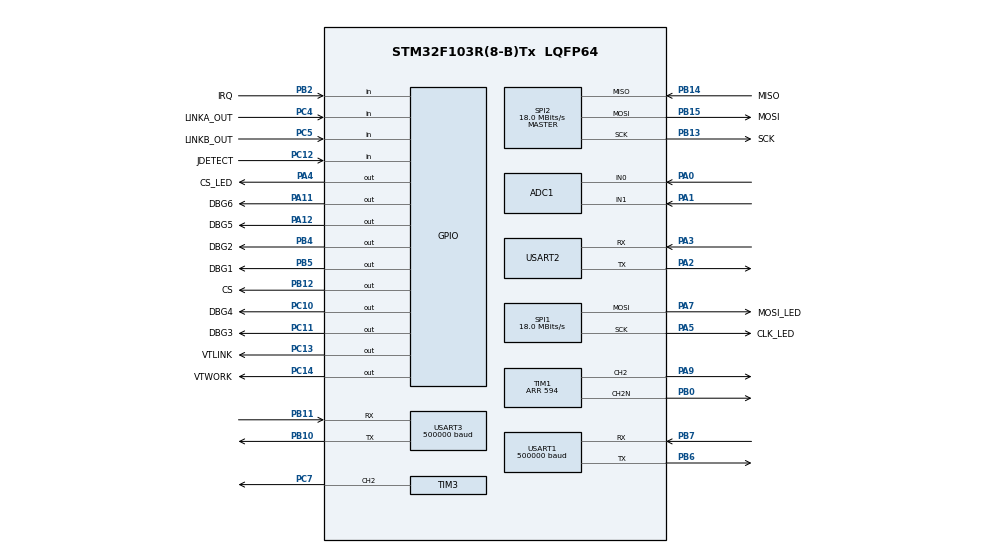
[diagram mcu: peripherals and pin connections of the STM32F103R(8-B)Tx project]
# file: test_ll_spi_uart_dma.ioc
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ADC1.Channel-0\#ChannelRegularConversion=ADC_CHANNEL_0
ADC1.Channel-19\#ChannelRegularConversion=ADC_CHANNEL_1
ADC1.ContinuousConvMode=ENABLE
ADC1.NbrOfConversion=2
ADC1.NbrOfConversionFlag=1
ADC1.Rank-0\#ChannelRegularConversion=1
ADC1.Rank-19\#ChannelRegularConversion=2
ADC1.SamplingTime-0\#ChannelRegularConversion=ADC_SAMPLETIME_239CYCLES_5
ADC1.SamplingTime-19\#ChannelRegularConversion=ADC_SAMPLETIME_239CYCLES_5
ADC1.master=1
Dma.ADC1.0.Direction=DMA_PERIPH_TO_MEMORY
Dma.ADC1.0.Instance=DMA1_Channel1
Dma.ADC1.0.MemDataAlignment=DMA_MDATAALIGN_WORD
Dma.ADC1.0.MemInc=DMA_MINC_ENABLE
Dma.ADC1.0.Mode=DMA_CIRCULAR
Dma.ADC1.0.PeriphDataAlignment=DMA_PDATAALIGN_WORD
Dma.ADC1.0.PeriphInc=DMA_PINC_DISABLE
Dma.ADC1.0.Priority=DMA_PRIORITY_LOW
Dma.Request0=ADC1
Dma.Request1=USART1_RX
Dma.Request2=USART1_TX
Dma.Request3=USART3_RX
Dma.Request4=USART3_TX
Dma.Request5=USART2_TX
Dma.Request6=USART2_RX
Dma.USART1_RX.1.Direction=DMA_PERIPH_TO_MEMORY
Dma.USART1_RX.1.Instance=DMA1_Channel5
Dma.USART1_RX.1.MemDataAlignment=DMA_MDATAALIGN_BYTE
Dma.USART1_RX.1.MemInc=DMA_MINC_ENABLE
Dma.USART1_RX.1.Mode=DMA_NORMAL
Dma.USART1_RX.1.PeriphDataAlignment=DMA_PDATAALIGN_BYTE
Dma.USART1_RX.1.PeriphInc=DMA_PINC_DISABLE
Dma.USART1_RX.1.Priority=DMA_PRIORITY_LOW
Dma.USART1_TX.2.Direction=DMA_MEMORY_TO_PERIPH
Dma.USART1_TX.2.Instance=DMA1_Channel4
Dma.USART1_TX.2.MemDataAlignment=DMA_MDATAALIGN_BYTE
Dma.USART1_TX.2.MemInc=DMA_MINC_ENABLE
Dma.USART1_TX.2.Mode=DMA_NORMAL
Dma.USART1_TX.2.PeriphDataAlignment=DMA_PDATAALIGN_BYTE
Dma.USART1_TX.2.PeriphInc=DMA_PINC_DISABLE
Dma.USART1_TX.2.Priority=DMA_PRIORITY_LOW
Dma.USART2_RX.6.Direction=DMA_PERIPH_TO_MEMORY
Dma.USART2_RX.6.Instance=DMA1_Channel6
Dma.USART2_RX.6.MemDataAlignment=DMA_MDATAALIGN_BYTE
Dma.USART2_RX.6.MemInc=DMA_MINC_ENABLE
Dma.USART2_RX.6.Mode=DMA_NORMAL
Dma.USART2_RX.6.PeriphDataAlignment=DMA_PDATAALIGN_BYTE
Dma.USART2_RX.6.PeriphInc=DMA_PINC_DISABLE
Dma.USART2_RX.6.Priority=DMA_PRIORITY_LOW
Dma.USART2_TX.5.Direction=DMA_MEMORY_TO_PERIPH
Dma.USART2_TX.5.Instance=DMA1_Channel7
Dma.USART2_TX.5.MemDataAlignment=DMA_MDATAALIGN_BYTE
Dma.USART2_TX.5.MemInc=DMA_MINC_ENABLE
Dma.USART2_TX.5.Mode=DMA_NORMAL
Dma.USART2_TX.5.PeriphDataAlignment=DMA_PDATAALIGN_BYTE
Dma.USART2_TX.5.PeriphInc=DMA_PINC_DISABLE
Dma.USART2_TX.5.Priority=DMA_PRIORITY_LOW
Dma.USART3_RX.3.Direction=DMA_PERIPH_TO_MEMORY
Dma.USART3_RX.3.Instance=DMA1_Channel3
Dma.USART3_RX.3.MemDataAlignment=DMA_MDATAALIGN_BYTE
Dma.USART3_RX.3.MemInc=DMA_MINC_ENABLE
Dma.USART3_RX.3.Mode=DMA_NORMAL
Dma.USART3_RX.3.PeriphDataAlignment=DMA_PDATAALIGN_BYTE
Dma.USART3_RX.3.PeriphInc=DMA_PINC_DISABLE
Dma.USART3_RX.3.Priority=DMA_PRIORITY_LOW
Dma.USART3_TX.4.Direction=DMA_MEMORY_TO_PERIPH
Dma.USART3_TX.4.Instance=DMA1_Channel2
Dma.USART3_TX.4.MemDataAlignment=DMA_MDATAALIGN_BYTE
Dma.USART3_TX.4.MemInc=DMA_MINC_ENABLE
Dma.USART3_TX.4.Mode=DMA_NORMAL
Dma.USART3_TX.4.PeriphDataAlignment=DMA_PDATAALIGN_BYTE
Dma.USART3_TX.4.PeriphInc=DMA_PINC_DISABLE
Dma.USART3_TX.4.Priority=DMA_PRIORITY_LOW
Mcu.Family=STM32F1
Mcu.Name=STM32F103R(8-B)Tx
Mcu.Package=LQFP64
NVIC.DMA1_Channel1_IRQn=true\:0\:0\:false\:false\:true\:false\:true\:true
NVIC.DMA1_Channel2_IRQn=true\:0\:0\:false\:false\:true\:false\:true\:true
NVIC.DMA1_Channel3_IRQn=true\:0\:0\:false\:false\:true\:false\:true\:true
NVIC.DMA1_Channel4_IRQn=true\:0\:0\:false\:false\:true\:false\:true\:true
NVIC.DMA1_Channel5_IRQn=true\:0\:0\:false\:false\:true\:false\:true\:true
NVIC.DMA1_Channel6_IRQn=true\:0\:0\:false\:false\:true\:false\:true\:true
NVIC.DMA1_Channel7_IRQn=true\:0\:0\:false\:false\:true\:false\:true\:true
NVIC.PriorityGroup=NVIC_PRIORITYGROUP_4
NVIC.TIM2_IRQn=true\:0\:0\:false\:false\:true\:true\:true\:true
NVIC.USART1_IRQn=true\:0\:0\:false\:false\:true\:true\:true\:true
NVIC.USART2_IRQn=true\:0\:0\:false\:false\:true\:true\:true\:true
NVIC.USART3_IRQn=true\:0\:0\:false\:false\:true\:true\:true\:true
PA0-WKUP.Signal=ADCx_IN0
PA1.Signal=ADCx_IN1
PA11.GPIO_Label=DBG6
PA11.Signal=GPIO_Output
PA12.GPIO_Label=DBG5
PA12.Signal=GPIO_Output
PA13.Mode=JTAG_4_pins
PA13.Signal=SYS_JTMS-SWDIO
PA14.Mode=JTAG_4_pins
PA14.Signal=SYS_JTCK-SWCLK
PA15.Mode=JTAG_4_pins
PA15.Signal=SYS_JTDI
PA2.Mode=Asynchronous
PA2.Signal=USART2_TX
PA3.Mode=Asynchronous
PA3.Signal=USART2_RX
PA4.GPIO_Label=CS_LED
PA4.Signal=GPIO_Output
PA5.GPIO_Label=CLK_LED
PA5.Mode=TX_Only_Simplex_Unidirect_Master
PA5.Signal=SPI1_SCK
PA7.GPIO_Label=MOSI_LED
PA7.Mode=TX_Only_Simplex_Unidirect_Master
PA7.Signal=SPI1_MOSI
PA9.Signal=S_TIM1_CH2
PB0.Mode=PWM Generation2 CH2 CH2N
PB0.Signal=TIM1_CH2N
PB10.Mode=Asynchronous
PB10.Signal=USART3_TX
PB11.Mode=Asynchronous
PB11.Signal=USART3_RX
PB12.GPIO_Label=CS
PB12.Signal=GPIO_Output
PB13.GPIO_Label=SCK
PB13.Mode=Full_Duplex_Master
PB13.Signal=SPI2_SCK
PB14.GPIO_Label=MISO
PB14.Mode=Full_Duplex_Master
PB14.Signal=SPI2_MISO
PB15.GPIO_Label=MOSI
PB15.Mode=Full_Duplex_Master
PB15.Signal=SPI2_MOSI
PB2.GPIO_Label=IRQ
PB2.Signal=GPIO_Input
PB3.Mode=JTAG_4_pins
PB3.Signal=SYS_JTDO-TRACESWO
PB4.GPIO_Label=DBG2
PB4.Signal=GPIO_Output
PB5.GPIO_Label=DBG1
PB5.Signal=GPIO_Output
PB6.Mode=Asynchronous
PB6.Signal=USART1_TX
PB7.Mode=Asynchronous
PB7.Signal=USART1_RX
PC10.GPIO_Label=DBG4
PC10.Signal=GPIO_Output
PC11.GPIO_Label=DBG3
PC11.Signal=GPIO_Output
PC12.GPIO_Label=JDETECT
PC12.Signal=GPIO_Input
PC13-TAMPER-RTC.GPIO_Label=VTLINK
PC13-TAMPER-RTC.Signal=GPIO_Output
PC14-OSC32_IN.GPIO_Label=VTWORK
PC14-OSC32_IN.Signal=GPIO_Output
PC4.GPIO_Label=LINKA_OUT
PC4.Signal=GPIO_Input
PC5.GPIO_Label=LINKB_OUT
PC5.Signal=GPIO_Input
PC7.Signal=S_TIM3_CH2
PD0-OSC_IN.Mode=HSE-External-Oscillator
PD0-OSC_IN.Signal=RCC_OSC_IN
PD1-OSC_OUT.Mode=HSE-External-Oscillator
PD1-OSC_OUT.Signal=RCC_OSC_OUT
ProjectManager.HeapSize=0x200
ProjectManager.StackSize=0x400
ProjectManager.TargetToolchain=Makefile
RCC.ADCPresc=RCC_ADCPCLK2_DIV8
RCC.AHBFreq_Value=36000000
RCC.APB1Freq_Value=36000000
RCC.APB1TimFreq_Value=36000000
RCC.APB2Freq_Value=36000000
RCC.APB2TimFreq_Value=36000000
RCC.HCLKFreq_Value=36000000
RCC.HSE_VALUE=12000000
RCC.PLLMUL=RCC_PLL_MUL3
RCC.PLLSourceVirtual=RCC_PLLSOURCE_HSE
RCC.SYSCLKFreq_VALUE=36000000
RCC.SYSCLKSource=RCC_SYSCLKSOURCE_PLLCLK
RCC.USBFreq_Value=36000000
SH.ADCx_IN0.0=ADC1_IN0,IN0
SH.ADCx_IN1.0=ADC1_IN1,IN1
SH.S_TIM1_CH2.0=TIM1_CH2,PWM Generation2 CH2 CH2N
SH.S_TIM3_CH2.0=TIM3_CH2,PWM Generation2 CH2
SPI1.BaudRatePrescaler=SPI_BAUDRATEPRESCALER_2
SPI1.CalculateBaudRate=18.0 MBits/s
SPI1.DataSize=SPI_DATASIZE_16BIT
SPI1.Direction=SPI_DIRECTION_2LINES
SPI1.FirstBit=SPI_FIRSTBIT_MSB
SPI1.Mode=SPI_MODE_MASTER
SPI1.VirtualNSS=VM_NSSHARD
SPI1.VirtualType=VM_MASTER
SPI2.BaudRatePrescaler=SPI_BAUDRATEPRESCALER_2
SPI2.CalculateBaudRate=18.0 MBits/s
SPI2.Direction=SPI_DIRECTION_2LINES
SPI2.Mode=SPI_MODE_MASTER
SPI2.VirtualType=VM_MASTER
TIM1.Channel-PWM\ Generation2\ CH2\ CH2N=TIM_CHANNEL_2
TIM1.DeadTime=12
TIM1.Period=594
TIM1.Pulse-PWM\ Generation2\ CH2\ CH2N=297
TIM2.Period=999
TIM2.Prescaler=35
TIM3.Channel-PWM\ Generation2\ CH2=TIM_CHANNEL_2
TIM3.Period=255
TIM3.Pulse-PWM\ Generation2\ CH2=0
USART1.BaudRate=500000
USART1.VirtualMode=VM_ASYNC
USART1.WordLength=WORDLENGTH_9B
USART2.VirtualMode=VM_ASYNC
USART3.BaudRate=500000
USART3.VirtualMode=VM_ASYNC
USART3.WordLength=WORDLENGTH_9B
VP_TIM1_VS_ClockSourceINT.Mode=Internal
VP_TIM2_VS_ClockSourceINT.Mode=Internal
VP_TIM3_VS_ClockSourceINT.Mode=Internal
board=custom

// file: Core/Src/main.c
/* USER CODE BEGIN Header */
/**
  ******************************************************************************
  * @file           : main.c
  * @brief          : Main program body
  ******************************************************************************
  * @attention
  *
  * Copyright (c) 2022 STMicroelectronics.
  * All rights reserved.
  *
  * This software is licensed under terms that can be found in the LICENSE file
  * in the root directory of this software component.
  * If no LICENSE file comes with this software, it is provided AS-IS.
  *
  ******************************************************************************
  */
/* USER CODE END Header */
#include "main.h"
#include "adc.h"
#include "dma.h"
#include "spi.h"
#include "tim.h"
#include "usart.h"
#include "gpio.h"

/* USER CODE BEGIN Includes */

#include <stdlib.h>
#include <stdio.h>
#include <string.h>
#include "common_types.h"
#include "check_sum.h"
/* USER CODE END Includes */

void SystemClock_Config(void);

/* USER CODE BEGIN 0 */

#define LED_BRIGHT_PERCENT_MAX 20
#define LED_BRIGHT_PERCENT_MIN 4
#define UART_CMD_SIZE 3

static data_t data;

static uint32_t period_1s = 0;
static uint8_t bfr_request[UART_CMD_SIZE] = {0xFF, 0, 0};

__IO uint16_t adcData[2] = {0};

typedef struct  flags_t {
  bool timer, timer1ms, uart1, uart3;
} flags_t;
flags_t flags = {0};

void status_led_set(uint16_t leds, uint8_t led_bright)
{
  // bright in percents
  uint16_t value = LL_TIM_GetAutoReload(TIM3) / 100.0 * (100.0 - led_bright);
  LL_TIM_OC_SetCompareCH2(TIM3, value);

  // put to STP16PT05
  LL_GPIO_ResetOutputPin(CS_LED_GPIO_Port, CS_LED_Pin);
  LL_SPI_TransmitData16(SPI1, leds);
  LL_GPIO_SetOutputPin(CS_LED_GPIO_Port, CS_LED_Pin);
}

uint16_t convert_adc_to_voltage(uint16_t adc_value)
{
  const float k_a = 7.3909; // resistor voltage divider
  const float k_b = 692.48;

  if (adc_value < 100) // minimal value for work
    return 0;
  else
    return (adc_value * k_a + k_b);
}

uint16_t exp_filter(uint16_t old_value, uint16_t new_value)
{
  const float a = 0.8;
  return old_value*(1-a)+new_value*a;
}

void USART_2_TX(uint8_t bfr[], uint16_t length)
{
  for (uint16_t pos = 0; pos < length; pos++)
  {
    while (!LL_USART_IsActiveFlag_TXE(USART2));
    LL_USART_TransmitData8(USART2, bfr[pos]);
  }
}

void USART1_TX (uint8_t bfr[], uint16_t length)
{
  LL_DMA_DisableChannel(DMA1, LL_DMA_CHANNEL_4);

  LL_DMA_ConfigAddresses(DMA1, LL_DMA_CHANNEL_4, (uint32_t)bfr, LL_USART_DMA_GetRegAddr(USART1),
    LL_DMA_GetDataTransferDirection(DMA1, LL_DMA_CHANNEL_4));

  LL_DMA_SetDataLength(DMA1, LL_DMA_CHANNEL_4, length);
  LL_DMA_EnableChannel(DMA1, LL_DMA_CHANNEL_4);
}
//--------------------------------------------------------
void USART1_RX (uint8_t* bfr, uint16_t length)
{
  LL_DMA_DisableChannel(DMA1, LL_DMA_CHANNEL_5);

  // ch5 = rx
  LL_DMA_ConfigAddresses(DMA1, LL_DMA_CHANNEL_5, LL_USART_DMA_GetRegAddr(USART1), (uint32_t)bfr,
    LL_DMA_GetDataTransferDirection(DMA1, LL_DMA_CHANNEL_5));

  LL_DMA_SetDataLength(DMA1, LL_DMA_CHANNEL_5, length);
  LL_DMA_EnableChannel(DMA1, LL_DMA_CHANNEL_5);
}

void USART3_TX (uint8_t bfr[], uint16_t length)
{
  LL_DMA_DisableChannel(DMA1, LL_DMA_CHANNEL_2);

  LL_DMA_ConfigAddresses(DMA1, LL_DMA_CHANNEL_2, (uint32_t)bfr, LL_USART_DMA_GetRegAddr(USART3),
    LL_DMA_GetDataTransferDirection(DMA1, LL_DMA_CHANNEL_2));

  LL_DMA_SetDataLength(DMA1, LL_DMA_CHANNEL_2, length);
  LL_DMA_EnableChannel(DMA1, LL_DMA_CHANNEL_2);
}
//--------------------------------------------------------
void USART3_RX (uint8_t* bfr, uint16_t length)
{
  LL_DMA_DisableChannel(DMA1, LL_DMA_CHANNEL_3);

  LL_DMA_ConfigAddresses(DMA1, LL_DMA_CHANNEL_3, LL_USART_DMA_GetRegAddr(USART3), (uint32_t)bfr,
    LL_DMA_GetDataTransferDirection(DMA1, LL_DMA_CHANNEL_3));

  LL_DMA_SetDataLength(DMA1, LL_DMA_CHANNEL_3, length);
  LL_DMA_EnableChannel(DMA1, LL_DMA_CHANNEL_3);
}
/* USER CODE END 0 */

int main(void)
{

  /* MCU Configuration--------------------------------------------------------*/

  /* Reset of all peripherals, Initializes the Flash interface and the Systick. */
  LL_APB2_GRP1_EnableClock(LL_APB2_GRP1_PERIPH_AFIO);
  LL_APB1_GRP1_EnableClock(LL_APB1_GRP1_PERIPH_PWR);

  /* System interrupt init*/
  NVIC_SetPriorityGrouping(NVIC_PRIORITYGROUP_4);

  /* SysTick_IRQn interrupt configuration */
  NVIC_SetPriority(SysTick_IRQn, NVIC_EncodePriority(NVIC_GetPriorityGrouping(),15, 0));

  /** NONJTRST: Full SWJ (JTAG-DP + SW-DP) but without NJTRST
  */
  LL_GPIO_AF_Remap_SWJ_NONJTRST();

  /* Configure the system clock */
  SystemClock_Config();

  /* Initialize all configured peripherals */
  MX_GPIO_Init();
  MX_DMA_Init();
  MX_ADC1_Init();
  MX_SPI1_Init();
  MX_SPI2_Init();
  MX_USART1_UART_Init();
  MX_USART2_UART_Init();
  MX_USART3_UART_Init();
  MX_TIM1_Init();
  MX_TIM2_Init();
  MX_TIM3_Init();
  /* USER CODE BEGIN 2 */

  //status led spi
  LL_SPI_Enable(SPI1);

  // PWM. Positive and Negative channels
  LL_TIM_CC_EnableChannel(TIM1, LL_TIM_CHANNEL_CH2 | LL_TIM_CHANNEL_CH2N);
  LL_TIM_EnableAllOutputs(TIM1);
  LL_TIM_EnableCounter(TIM1);

  // PWM LED brightness
  LL_TIM_CC_EnableChannel(TIM3, LL_TIM_CHANNEL_CH2);
  LL_TIM_EnableCounter(TIM3);

  // timer 1ms
  LL_TIM_EnableIT_UPDATE(TIM2);
  LL_TIM_EnableCounter(TIM2);

  // ADC power voltages
  LL_DMA_ConfigTransfer(DMA1,
                      LL_DMA_CHANNEL_1,
                      LL_DMA_DIRECTION_PERIPH_TO_MEMORY |
                      LL_DMA_MODE_CIRCULAR              |
                      LL_DMA_PERIPH_NOINCREMENT         |
                      LL_DMA_MEMORY_INCREMENT           |
                      LL_DMA_PDATAALIGN_HALFWORD        |
                      LL_DMA_MDATAALIGN_HALFWORD        |
                      LL_DMA_PRIORITY_LOW               );
  LL_DMA_ConfigAddresses(DMA1,
                         LL_DMA_CHANNEL_1,
                         LL_ADC_DMA_GetRegAddr(ADC1, LL_ADC_DMA_REG_REGULAR_DATA),
                         (uint32_t)&adcData,
                         LL_DMA_DIRECTION_PERIPH_TO_MEMORY);
  LL_DMA_SetDataLength(DMA1, LL_DMA_CHANNEL_1, 2);
  LL_DMA_EnableChannel(DMA1, LL_DMA_CHANNEL_1);
  LL_ADC_Enable(ADC1);
  LL_mDelay(1);
  LL_ADC_StartCalibration(ADC1);
  LL_mDelay(1);
  LL_ADC_REG_StartConversionSWStart(ADC1);

  //USART1
  LL_DMA_ClearFlag_GI4(DMA1);
  LL_DMA_ClearFlag_TC4(DMA1);
  LL_DMA_ClearFlag_TE4(DMA1);

  LL_DMA_ClearFlag_GI5(DMA1);
  LL_DMA_ClearFlag_TC5(DMA1);
  LL_DMA_ClearFlag_TE5(DMA1);

  LL_USART_EnableDMAReq_RX(USART1);
  LL_USART_EnableDMAReq_TX(USART1);
  LL_DMA_EnableIT_TC(DMA1, LL_DMA_CHANNEL_4); // transfer complete
  LL_DMA_EnableIT_TE(DMA1, LL_DMA_CHANNEL_4); // transfer error
  LL_DMA_EnableIT_TC(DMA1, LL_DMA_CHANNEL_5);
  LL_DMA_EnableIT_TE(DMA1, LL_DMA_CHANNEL_5);

  //USART3
  LL_DMA_ClearFlag_GI2(DMA1);
  LL_DMA_ClearFlag_TC2(DMA1);
  LL_DMA_ClearFlag_TE2(DMA1);

  LL_DMA_ClearFlag_GI3(DMA1);
  LL_DMA_ClearFlag_TC3(DMA1);
  LL_DMA_ClearFlag_TE3(DMA1);

  LL_USART_EnableDMAReq_RX(USART3);
  LL_USART_EnableDMAReq_TX(USART3);
  LL_DMA_EnableIT_TC(DMA1, LL_DMA_CHANNEL_2); // transfer complete
  LL_DMA_EnableIT_TE(DMA1, LL_DMA_CHANNEL_2); // transfer error
  LL_DMA_EnableIT_TC(DMA1, LL_DMA_CHANNEL_3);
  LL_DMA_EnableIT_TE(DMA1, LL_DMA_CHANNEL_3);

  /* USER CODE END 2 */

  /* Infinite loop */
  /* USER CODE BEGIN WHILE */
  static uint16_t cnt=0, led_value = 0;

  static int16_t  led_bright = LED_BRIGHT_PERCENT_MIN, led_bright_step=1;

  //prepare cmd for slave
  bfr_request[2] = crc8_dallas(bfr_request, 2);
  LL_RCC_ClocksTypeDef rcc;
  LL_RCC_GetSystemClocksFreq(&rcc);
  period_1s = rcc.SYSCLK_Frequency / ( LL_TIM_GetPrescaler(TIM2) + 1) / ( LL_TIM_GetAutoReload(TIM2) + 1);

  LL_GPIO_SetOutputPin(VTWORK_GPIO_Port, VTWORK_Pin);

  while (1)
  {

    if (flags.timer1ms)
    {
      flags.timer1ms = false;

    }

    if (flags.timer)
    {
      flags.timer = false;

      // status LED
      LL_GPIO_TogglePin(VTWORK_GPIO_Port, VTWORK_Pin);
      LL_GPIO_TogglePin(VTLINK_GPIO_Port, VTLINK_Pin);

      status_led_set(led_value, led_bright);
      //status_led_set(data.d_in, led_bright);

      led_value ^= (1<<(cnt++ & 0xF)); // running-light
      led_bright += led_bright_step;   // brightness from low to high and back
      if (led_bright < LED_BRIGHT_PERCENT_MIN) { led_bright = LED_BRIGHT_PERCENT_MIN; led_bright_step = 1; }
      if (led_bright > LED_BRIGHT_PERCENT_MAX) { led_bright = LED_BRIGHT_PERCENT_MAX; led_bright_step = -1; }

      // adc
      data.voltage1 = exp_filter(data.voltage1, convert_adc_to_voltage( adcData[0]));
      data.voltage2 = exp_filter(data.voltage2, convert_adc_to_voltage( adcData[1]));

      // uart-debug
      char str[64];

      sprintf(str, "%04X;%04X;%d.%d;%d.%d;%ld\r\n", cnt, data.d_in,
        data.voltage1 / 1000, (data.voltage1 % 1000) / 100,
        data.voltage2 / 1000, (data.voltage2 % 1000) / 100,
        data.uart_cnt);

      USART_2_TX((uint8_t*)str, strlen(str));

      static uint16_t cnt_1sec=0;
      if (++cnt_1sec >= 10) {
        data.uart_cnt = data.uart_cnt_t;
        data.uart_cnt_t = 0;
        cnt_1sec = 0;
      }
    }

    if (flags.uart1)
    {
      flags.uart1 = false;

      if (crc8_dallas(data.uart_bfr1, 2) == data.uart_bfr1[2] )
      {
        data.d_in &= 0xFF00;
        data.d_in |= data.uart_bfr1[0];
      }
    }

    if (flags.uart3)
    {
      flags.uart3 = false;

      if (crc8_dallas(data.uart_bfr3, 2) == data.uart_bfr3[2] )
      {
        data.d_in &= 0x00FF;
        data.d_in |= data.uart_bfr3[0] << 8;
      }
    }
    /* USER CODE END WHILE */

  }
}

void SystemClock_Config(void)
{
  LL_FLASH_SetLatency(LL_FLASH_LATENCY_1);
  while(LL_FLASH_GetLatency()!= LL_FLASH_LATENCY_1)
  {
  }
  LL_RCC_HSE_Enable();

   /* Wait till HSE is ready */
  while(LL_RCC_HSE_IsReady() != 1)
  {

  }
  LL_RCC_PLL_ConfigDomain_SYS(LL_RCC_PLLSOURCE_HSE_DIV_1, LL_RCC_PLL_MUL_3);
  LL_RCC_PLL_Enable();

   /* Wait till PLL is ready */
  while(LL_RCC_PLL_IsReady() != 1)
  {

  }
  LL_RCC_SetAHBPrescaler(LL_RCC_SYSCLK_DIV_1);
  LL_RCC_SetAPB1Prescaler(LL_RCC_APB1_DIV_1);
  LL_RCC_SetAPB2Prescaler(LL_RCC_APB2_DIV_1);
  LL_RCC_SetSysClkSource(LL_RCC_SYS_CLKSOURCE_PLL);

   /* Wait till System clock is ready */
  while(LL_RCC_GetSysClkSource() != LL_RCC_SYS_CLKSOURCE_STATUS_PLL)
  {

  }
  LL_Init1msTick(36000000);
  LL_SetSystemCoreClock(36000000);
  LL_RCC_SetADCClockSource(LL_RCC_ADC_CLKSRC_PCLK2_DIV_8);
}

/* USER CODE BEGIN 4 */
void TIM2_Callback(void)
{
  if(LL_TIM_IsActiveFlag_UPDATE(TIM2))
  {
    LL_TIM_ClearFlag_UPDATE(TIM2);

    flags.timer1ms = true;

    USART1_TX(bfr_request, ARRAY_SIZE(bfr_request));
    USART3_TX(bfr_request, ARRAY_SIZE(bfr_request));

    static uint32_t timer10 = 0;
    if (++timer10 >= ( period_1s / 10) )
    {
      timer10 = 0;
      flags.timer = true;
    }

  }
}

void DMA1_USART1_RecieveComplete(void)
{
  data.uart_cnt_t++;
  flags.uart1 = true;
}
//-----------------------------------------
void DMA1_USART1_TransmitComplete(void)
{
  USART1_RX(data.uart_bfr1, UART_CMD_SIZE);
}

void DMA1_USART3_RecieveComplete(void)
{
  data.uart_cnt_t++;
  flags.uart3 = true;
}
//-----------------------------------------
void DMA1_USART3_TransmitComplete(void)
{
  USART3_RX(data.uart_bfr3, UART_CMD_SIZE);
}

/* USER CODE END 4 */

void Error_Handler(void)
{
  __disable_irq();
  while (1)
  {
  }
}
